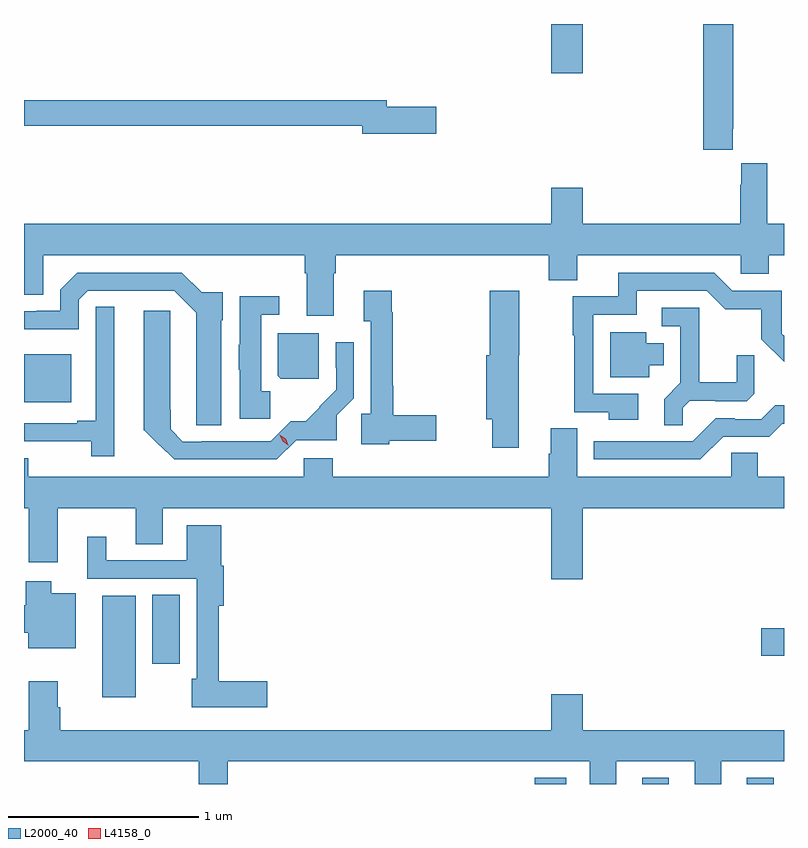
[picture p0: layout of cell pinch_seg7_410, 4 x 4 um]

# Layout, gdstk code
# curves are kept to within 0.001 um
import gdstk
lib = gdstk.Library(unit=1e-6, precision=1e-09)
def R(c, l, rs):  # rectangles x0, y0, x1, y1
    for r in rs: c.add(gdstk.rectangle(r[:2], r[2:], *l))
def P(c, l, *ps):  # polygons
    for p in ps: c.add(gdstk.Polygon(p, *l))
L2000_40 = (2000, 40)
L4158_0 = (4158, 0)

pinch_seg7_410 = lib.new_cell('pinch_seg7_410')
R(pinch_seg7_410, L2000_40, [(536.549,1011.152,536.713,1011.184), (537.113,1011.152,537.253,1011.184), (537.665,1011.152,537.805,1011.184), (534.272,1011.608,534.448,1012.144), (534.536,1011.786,534.679,1012.148), (537.741,1011.827,537.86,1011.971), (533.86,1013.162,534.109,1013.413), (536.636,1014.894,536.8,1015.152)])
P(pinch_seg7_410, L2000_40, [(537.589,1014.601),(537.594,1014.601),(537.594,1015.152),(537.434,1015.152),(537.434,1014.489),(537.589,1014.489)],
  [(536.029,1014.716),(535.768,1014.716),(535.768,1014.752),(533.86,1014.752),(533.86,1014.616),(535.64,1014.616),(535.64,1014.574),(536.029,1014.574)],
  [(535.489,1013.84),(535.502,1013.84),(535.502,1013.936),(536.621,1013.936),(536.621,1013.803),(536.773,1013.803),(536.773,1013.936),(537.633,1013.936),(537.633,1013.838),(537.78,1013.838),(537.78,1013.936),(537.86,1013.936),(537.86,1014.1),(537.772,1014.1),(537.772,1014.418),(537.635,1014.418),(537.635,1014.305),(537.629,1014.305),(537.629,1014.1),(536.8,1014.1),(536.8,1014.289),(536.636,1014.289),(536.636,1014.1),(533.86,1014.1),(533.86,1013.728),(533.962,1013.728),(533.962,1013.936),(535.337,1013.936),(535.337,1013.84),(535.349,1013.84),(535.349,1013.616),(535.489,1013.616)],
  [(534.898,1013.592),(534.907,1013.592),(534.907,1013.739),(534.796,1013.739),(534.691,1013.844),(534.141,1013.844),(534.051,1013.754),(534.051,1013.643),(533.926,1013.643),(533.926,1013.64),(533.86,1013.64),(533.86,1013.546),(534.147,1013.546),(534.147,1013.7),(534.195,1013.748),(534.651,1013.748),(534.767,1013.632),(534.767,1013.041),(534.898,1013.041)],
  [(537.094,1013.205),(536.856,1013.205),(536.856,1013.622),(537.085,1013.622),(537.085,1013.748),(537.453,1013.748),(537.552,1013.65),(537.741,1013.65),(537.741,1013.494),(537.86,1013.375),(537.86,1013.512),(537.849,1013.523),(537.849,1013.748),(537.588,1013.748),(537.492,1013.844),(536.987,1013.844),(536.987,1013.718),(536.748,1013.718),(536.748,1013.515),(536.755,1013.515),(536.755,1013.109),(536.938,1013.109),(536.938,1013.069),(537.094,1013.069)],
  [(536.464,1013.409),(536.466,1013.409),(536.466,1013.749),(536.312,1013.749),(536.312,1013.409),(536.294,1013.409),(536.294,1013.073),(536.324,1013.073),(536.324,1012.923),(536.464,1012.923)],
  [(535.782,1012.958),(536.029,1012.958),(536.029,1013.093),(535.804,1013.093),(535.804,1013.247),(535.802,1013.247),(535.802,1013.636),(535.795,1013.636),(535.795,1013.749),(535.649,1013.749),(535.649,1013.588),(535.686,1013.588),(535.686,1013.1),(535.634,1013.1),(535.634,1012.94),(535.782,1012.94)],
  [(535.156,1013.22),(535.108,1013.22),(535.108,1013.622),(535.204,1013.622),(535.204,1013.72),(534.995,1013.72),(534.995,1013.463),(534.989,1013.463),(534.989,1013.331),(534.995,1013.331),(534.995,1013.075),(535.156,1013.075)],
  [(534.334,1013.663),(534.237,1013.663),(534.237,1013.065),(534.14,1013.065),(534.14,1013.052),(533.86,1013.052),(533.86,1012.956),(533.971,1012.956),(533.971,1012.955),(534.214,1012.955),(534.214,1012.878),(534.334,1012.878)],
  [(537.327,1013.132),(537.364,1013.169),(537.498,1013.169),(537.498,1013.166),(537.663,1013.166),(537.704,1013.207),(537.704,1013.409),(537.61,1013.409),(537.61,1013.266),(537.413,1013.266),(537.413,1013.658),(537.216,1013.658),(537.216,1013.562),(537.315,1013.562),(537.315,1013.263),(537.229,1013.177),(537.229,1013.041),(537.327,1013.041)],
  [(535.293,1012.962),(535.507,1012.962),(535.507,1013.094),(535.596,1013.183),(535.596,1013.476),(535.5,1013.476),(535.5,1013.342),(535.503,1013.342),(535.503,1013.226),(535.414,1013.137),(535.416,1013.135),(535.343,1013.062),(535.264,1013.062),(535.158,1012.956),(534.796,1012.956),(534.796,1012.953),(534.696,1012.953),(534.632,1013.018),(534.631,1013.644),(534.491,1013.644),(534.491,1013.013),(534.494,1013.013),(534.571,1012.936),(534.572,1012.937),(534.65,1012.86),(535.191,1012.86)],
  [(537.151,1013.357),(537.226,1013.357),(537.226,1013.473),(537.136,1013.473),(537.136,1013.53),(536.945,1013.53),(536.945,1013.294),(537.151,1013.294)],
  [(535.411,1013.524),(535.196,1013.524),(535.196,1013.301),(535.212,1013.285),(535.411,1013.285)],
  [(537.54,1012.98),(537.783,1012.98),(537.852,1013.049),(537.86,1013.049),(537.86,1013.146),(537.814,1013.146),(537.741,1013.073),(537.602,1013.073),(537.602,1013.076),(537.501,1013.076),(537.381,1012.956),(536.858,1012.956),(536.858,1012.86),(537.42,1012.86)],
  [(536.8,1012.604),(537.86,1012.604),(537.86,1012.768),(537.721,1012.768),(537.721,1012.895),(537.582,1012.895),(537.582,1012.768),(536.773,1012.768),(536.773,1013.024),(536.633,1013.024),(536.633,1012.89),(536.621,1012.89),(536.621,1012.768),(535.484,1012.768),(535.484,1012.866),(535.332,1012.866),(535.332,1012.768),(533.883,1012.768),(533.883,1012.867),(533.86,1012.867),(533.86,1012.604),(533.885,1012.604),(533.885,1012.32),(534.037,1012.32),(534.037,1012.604),(534.449,1012.604),(534.449,1012.414),(534.589,1012.414),(534.589,1012.604),(536.636,1012.604),(536.636,1012.23),(536.8,1012.23)],
  [(535.141,1011.692),(534.884,1011.692),(534.884,1012.091),(534.911,1012.091),(534.911,1012.302),(534.898,1012.302),(534.898,1012.513),(534.716,1012.513),(534.716,1012.329),(534.292,1012.329),(534.292,1012.453),(534.194,1012.453),(534.194,1012.233),(534.768,1012.233),(534.768,1011.705),(534.742,1011.705),(534.742,1011.557),(535.141,1011.557)],
  [(534.133,1012.156),(534.004,1012.156),(534.004,1012.219),(533.87,1012.219),(533.87,1012.094),(533.86,1012.094),(533.86,1011.947),(533.882,1011.947),(533.882,1011.866),(534.133,1011.866)],
  [(534.932,1011.272),(536.837,1011.272),(536.837,1011.152),(536.977,1011.152),(536.977,1011.272),(537.389,1011.272),(537.389,1011.152),(537.529,1011.152),(537.529,1011.272),(537.86,1011.272),(537.86,1011.436),(536.8,1011.436),(536.8,1011.625),(536.636,1011.625),(536.636,1011.436),(534.05,1011.436),(534.05,1011.557),(534.037,1011.557),(534.037,1011.694),(533.885,1011.694),(533.885,1011.436),(533.86,1011.436),(533.86,1011.272),(534.779,1011.272),(534.779,1011.152),(534.932,1011.152)])
P(pinch_seg7_410, L4158_0, [(535.251,1012.935),(535.222,1012.956),(535.207,1012.989),(535.207,1012.989),(535.207,1012.989),(535.237,1012.969),(535.252,1012.936),(535.252,1012.935)])

lib.write_gds('pinch_seg7_410.gds')
